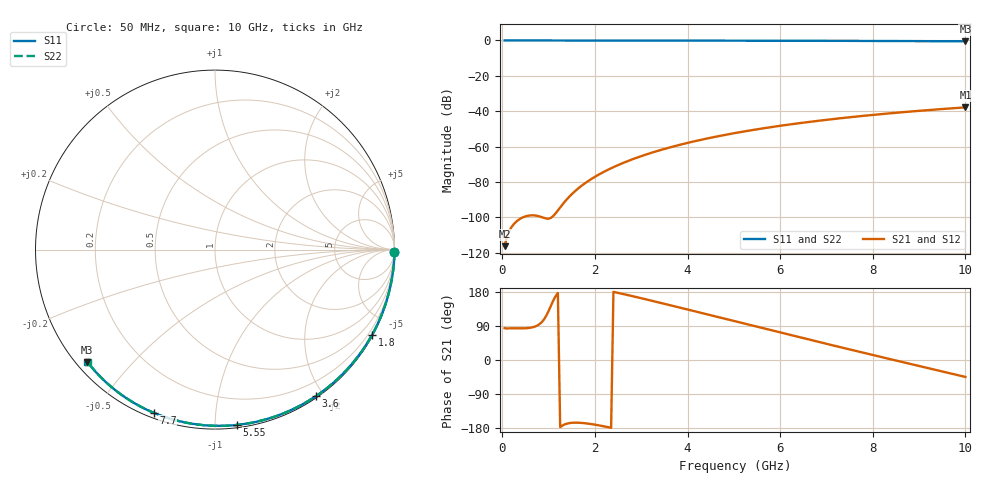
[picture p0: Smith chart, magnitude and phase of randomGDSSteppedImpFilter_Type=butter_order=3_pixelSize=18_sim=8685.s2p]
! freq	dB(S11)	phase(S11)	dB(S12)	phase(S12)
!  dB(S21)	phase(S21)	dB(S22)	phase(S22)
!S-par simulation data
#  GHz  S  DB  R 50
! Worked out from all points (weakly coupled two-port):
!   200 points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, 50 MHz to 10 GHz, reference 50 ohm
!   highest |S21| = -37.82 dB at 10 GHz (marker M1); lowest = -116.3 dB at 50 MHz (marker M2)
!   lowest |S11| = -0.5 dB at 10 GHz (marker M3), VSWR 36.88, Z = 1.55 - j18.8 ohm
!   |S11| at or under -10 dB: nowhere
!   |S22| runs from -0.5 to 0.0 dB; largest |S21 - S12| = 0
!   S11 on the Smith chart (normalised r, x): 50 MHz: open; 1.8 GHz: 0.03, -3.94; 3.6 GHz: 0.02, -1.90; 5.55 GHz: 0.02, -1.13; 7.7 GHz: 0.02, -0.69; 10 GHz: 0.03, -0.38
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0.05  -0.00 -0.8  -116.31 84.1  -116.31 84.1  -0.00 -0.8
0.45  -0.01 -7.2  -99.95 83.5  -99.95 83.5  -0.01 -7.2
0.9  -0.02 -14.4  -100.34 107.0  -100.34 107.0  -0.02 -14.4
1.75  -0.04 -27.7  -81.41 -166.4  -81.41 -166.4  -0.04 -27.7
1.8  -0.04 -28.4  -80.47 -167.1  -80.47 -167.1  -0.04 -28.4
1.85  -0.04 -29.2  -79.57 -167.8  -79.57 -167.8  -0.04 -29.2
2.05  -0.04 -32.3  -76.32 -171.7  -76.32 -171.7  -0.04 -32.3
2.25  -0.05 -35.4  -73.51 -176.4  -73.51 -176.4  -0.05 -35.4
2.55  -0.05 -39.9  -69.89 175.8  -69.89 175.8  -0.05 -39.9
2.95  -0.06 -46.0  -65.86 164.5  -65.86 164.5  -0.06 -45.9
3.4  -0.07 -52.6  -62.08 151.3  -62.08 151.3  -0.07 -52.6
3.6  -0.07 -55.6  -60.60 145.3  -60.60 145.3  -0.07 -55.5
3.9  -0.08 -59.9  -58.56 136.3  -58.56 136.3  -0.08 -59.9
4.3  -0.09 -65.6  -56.12 124.1  -56.12 124.1  -0.09 -65.6
5.05  -0.12 -76.1  -52.23 101.4  -52.23 101.4  -0.12 -76.0
5.55  -0.14 -82.9  -50.03 86.2  -50.03 86.2  -0.14 -82.8
6.1  -0.16 -90.2  -47.88 69.6  -47.88 69.6  -0.16 -90.1
6.7  -0.19 -98.0  -45.81 51.6  -45.81 51.6  -0.19 -97.9
7.7  -0.25 -110.6  -42.88 22.0  -42.88 22.0  -0.25 -110.6
8.35  -0.30 -118.7  -41.24 3.0  -41.24 3.0  -0.30 -118.6
9.2  -0.38 -129.0  -39.36 -21.6  -39.36 -21.6  -0.38 -128.9
10  -0.47 -138.7  -37.82 -44.7  -37.82 -44.7  -0.47 -138.6
